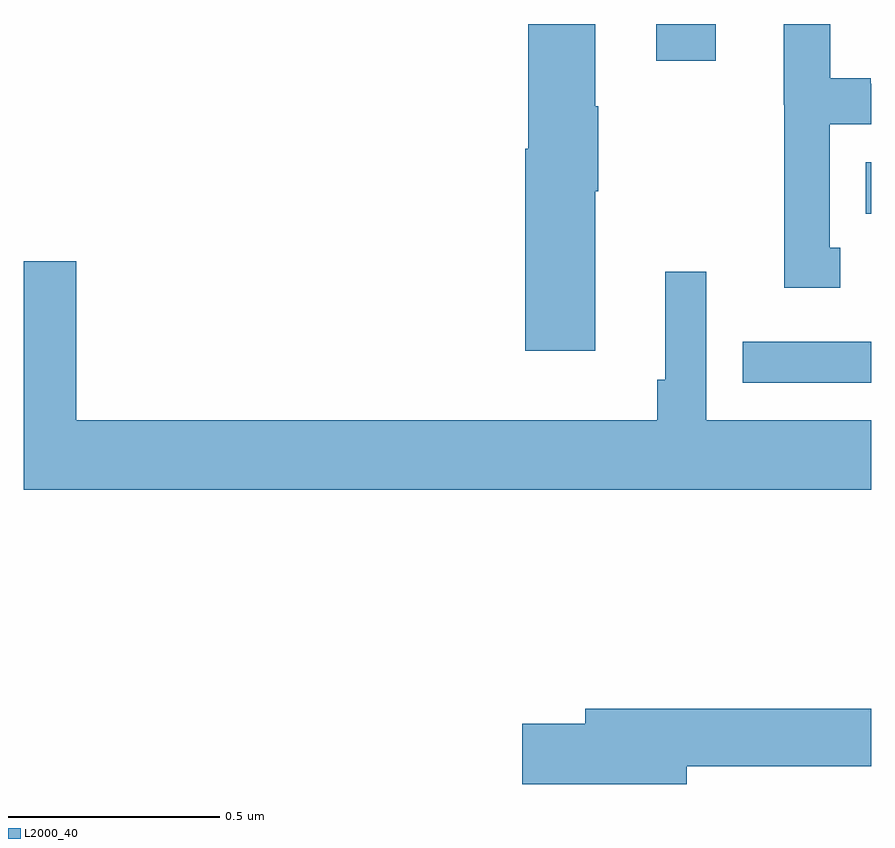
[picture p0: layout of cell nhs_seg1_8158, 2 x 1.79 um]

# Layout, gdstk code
import gdstk
lib = gdstk.Library(unit=1e-6, precision=1e-09)
def R(c, l, rs):  # rectangles x0, y0, x1, y1
    for r in rs: c.add(gdstk.rectangle(r[:2], r[2:], *l))
def P(c, l, *ps):  # polygons
    for p in ps: c.add(gdstk.Polygon(p, *l))
L2000_40 = (2000, 40)

nhs_seg1_8158 = lib.new_cell('nhs_seg1_8158')
R(nhs_seg1_8158, L2000_40, [(214.696,517.353,215,517.449), (214.987,517.751,215,517.873), (214.493,518.112,214.633,518.199)])
P(nhs_seg1_8158, L2000_40, [(214.927,517.671),(214.902,517.671),(214.902,517.962),(215,517.962),(215,518.058),(214.999,518.058),(214.999,518.071),(214.903,518.071),(214.903,518.199),(214.793,518.199),(214.793,518.009),(214.794,518.009),(214.794,517.577),(214.927,517.577)],
  [(214.348,517.805),(214.356,517.805),(214.356,518.005),(214.348,518.005),(214.348,518.199),(214.19,518.199),(214.19,517.905),(214.184,517.905),(214.184,517.428),(214.348,517.428)],
  [(215,517.264),(214.611,517.264),(214.611,517.615),(214.514,517.615),(214.514,517.36),(214.495,517.36),(214.495,517.264),(213.124,517.264),(213.124,517.639),(213,517.639),(213,517.1),(215,517.1)],
  [(214.564,516.448),(215,516.448),(215,516.584),(214.325,516.584),(214.325,516.548),(214.176,516.548),(214.176,516.406),(214.564,516.406)])

lib.write_gds('nhs_seg1_8158.gds')
